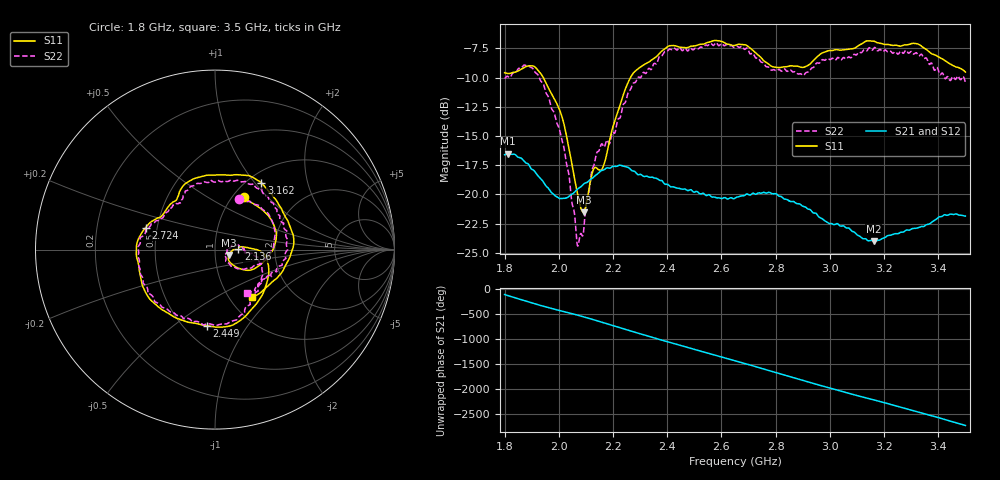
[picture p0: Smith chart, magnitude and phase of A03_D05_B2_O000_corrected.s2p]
! Created with skrf 1.9.0 (http://scikit-rf.org).
# Hz S RI R 50.0
!freq ReS11 ImS11 ReS21 ImS21 ReS12 ImS12 ReS22 ImS22
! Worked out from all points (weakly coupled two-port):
!   1601 points, 1.8 GHz to 3.5 GHz, reference 50 ohm
!   highest |S21| = -16.50 dB at 1.812 GHz (marker M1); lowest = -24.0 dB at 3.162 GHz (marker M2)
!   lowest |S11| = -21.5 dB at 2.091 GHz (marker M3), VSWR 1.18, Z = 58.4 - j3.47 ohm
!   |S11| at or under -10 dB: 1.943 GHz to 2.264 GHz (321.3 MHz wide, 15.3 % of centre)
!   |S22| runs from -24.4 to -7.0 dB; largest |S21 - S12| = 0.0028
!   S11 on the Smith chart (normalised r, x): 1.8 GHz: 1.12, +0.74; 2.136 GHz: 1.30, +0.01; 2.449 GHz: 0.64, -0.67; 2.724 GHz: 0.43, +0.13; 3.162 GHz: 1.15, +1.08; 3.5 GHz: 1.27, -0.75
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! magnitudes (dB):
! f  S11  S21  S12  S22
! 1.8 GHz  -9.6  -16.6  -16.6  -10.1
! 1.812 GHz  -9.6  -16.5  -16.5  -9.9
! 1.88 GHz  -9.1  -17.3  -17.3  -9.0
! 1.942 GHz  -10.0  -18.9  -18.9  -10.5
! 2.013 GHz  -13.4  -20.3  -20.4  -15.4
! 2.068 GHz  -19.8  -19.6  -19.6  -24.3
! 2.084 GHz  -21.3  -19.3  -19.3  -23.4
! 2.091 GHz  -21.5  -19.1  -19.2  -23.2
! 2.136 GHz  -17.7  -18.4  -18.4  -16.8
! 2.166 GHz  -17.5  -17.9  -17.9  -15.9
! 2.205 GHz  -13.8  -17.6  -17.6  -14.8
! 2.265 GHz  -10.0  -17.9  -17.9  -11.0
! 2.367 GHz  -8.0  -18.7  -18.7  -8.4
! 2.449 GHz  -7.4  -19.5  -19.5  -7.5
! 2.65 GHz  -7.2  -20.3  -20.3  -7.4
! 2.724 GHz  -7.8  -20.0  -19.9  -8.3
! 2.797 GHz  -9.1  -19.9  -19.9  -9.4
! 2.934 GHz  -8.7  -21.5  -21.4  -9.2
! 3.162 GHz  -6.9  -24.0  -24.0  -7.5
! 3.217 GHz  -7.2  -23.5  -23.5  -7.8
! 3.324 GHz  -7.1  -22.9  -22.8  -8.0
! 3.5 GHz  -9.5  -21.9  -21.9  -10.4
